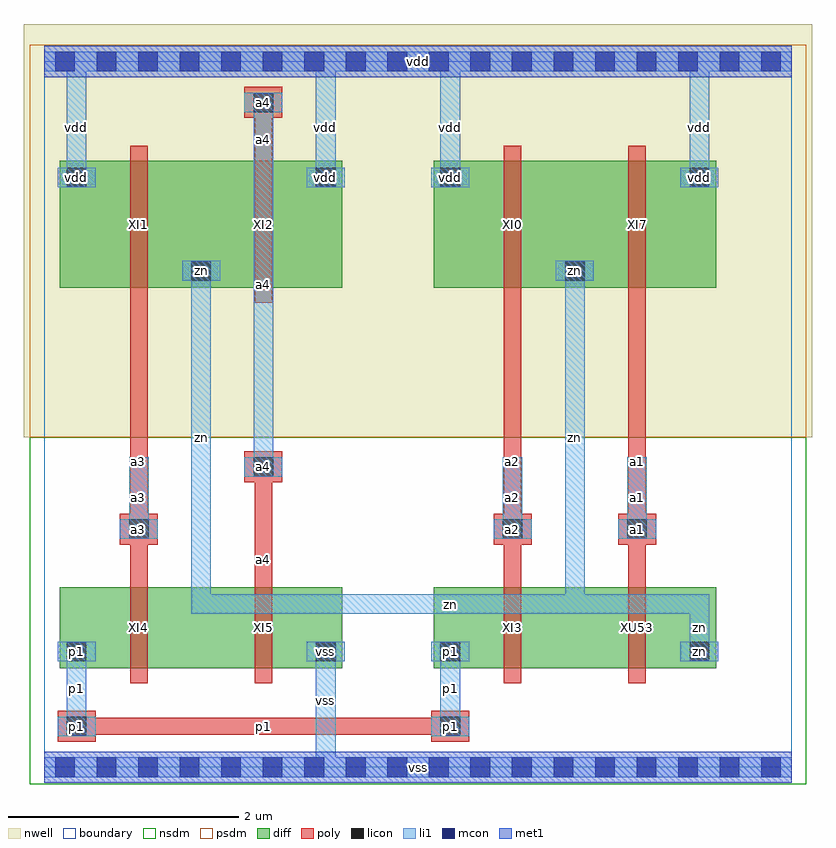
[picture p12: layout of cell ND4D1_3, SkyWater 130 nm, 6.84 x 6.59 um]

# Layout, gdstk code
import gdstk
lib = gdstk.Library(unit=1e-6, precision=1e-09)
def R(c, l, rs):  # rectangles x0, y0, x1, y1
    for r in rs: c.add(gdstk.rectangle(r[:2], r[2:], *l))
def A(c, l, x, y, w, h, nx, ny, dx, dy):  # array of equal rectangles
    R(c, l, [(x+i*dx, y+j*dy, x+i*dx+w, y+j*dy+h) for i in range(nx) for j in range(ny)])
L0_0 = (0, 0)
nwell = (64, 20)
diff = (65, 20)
poly = (66, 20)
licon = (66, 44)
li1 = (67, 20)
mcon = (67, 44)
met1 = (68, 20)
nsdm = (93, 44)
psdm = (94, 20)
boundary = (235, 4)

nd4d1_3 = lib.new_cell('ND4D1_3')
R(nd4d1_3, nwell, [(-0.18,2.86,6.66,6.445)])
R(nd4d1_3, diff, [(0.135,0.86,1.505,1.56), (0.135,0.86,0.425,1.15), (1.215,0.86,2.585,1.56), (2.295,0.86,2.585,1.15), (3.375,0.86,4.745,1.56), (3.375,0.86,3.665,1.15), (4.455,0.86,5.825,1.56), (5.535,0.86,5.825,1.15), (0.135,4.16,1.505,5.26), (1.215,4.16,2.585,5.26), (1.215,4.16,1.505,4.45), (3.375,4.16,4.745,5.26), (4.455,4.16,5.825,5.26), (4.455,4.16,4.745,4.45), (0.135,4.97,0.425,5.26), (2.295,4.97,2.585,5.26), (3.375,4.97,3.665,5.26), (5.535,4.97,5.825,5.26)])
R(nd4d1_3, poly, [(0.115,0.22,0.445,0.49), (3.355,0.22,3.685,0.49), (0.205,0.28,3.595,0.43), (0.745,0.73,0.895,1.69), (1.825,0.73,1.975,1.69), (3.985,0.73,4.135,1.69), (5.065,0.73,5.215,1.69), (0.745,0.93,0.895,4.38), (1.825,0.93,1.975,2.68), (3.985,0.93,4.135,4.38), (5.065,0.93,5.215,4.38), (0.655,1.93,0.985,2.2), (3.895,1.93,4.225,2.2), (4.975,1.93,5.305,2.2), (1.735,2.47,2.065,2.74), (0.745,4.03,0.895,5.39), (1.825,4.03,1.975,5.39), (3.985,4.03,4.135,5.39), (5.065,4.03,5.215,5.39), (1.825,5.04,1.975,5.84), (1.735,5.63,2.065,5.9)])
R(nd4d1_3, licon, [(0.195,0.27,0.365,0.44), (3.435,0.27,3.605,0.44), (0.195,0.92,0.365,1.09), (2.355,0.92,2.525,1.09), (3.435,0.92,3.605,1.09), (5.595,0.92,5.765,1.09), (0.735,1.98,0.905,2.15), (3.975,1.98,4.145,2.15), (5.055,1.98,5.225,2.15), (1.815,2.52,1.985,2.69), (1.275,4.22,1.445,4.39), (4.515,4.22,4.685,4.39), (0.195,5.03,0.365,5.2), (2.355,5.03,2.525,5.2), (3.435,5.03,3.605,5.2), (5.595,5.03,5.765,5.2), (1.815,5.68,1.985,5.85)])
R(nd4d1_3, li1, [(0,-0.085,6.48,0.085), (2.355,0.06,2.525,1.09), (0.115,0.27,0.445,0.44), (0.195,0.27,0.365,1.09), (3.355,0.27,3.685,0.44), (3.435,0.27,3.605,1.09), (0.115,0.92,0.445,1.09), (2.275,0.92,2.605,1.09), (3.355,0.92,3.685,1.09), (5.515,0.92,5.845,1.09), (5.595,0.92,5.765,1.5), (1.275,1.33,5.765,1.5), (1.275,1.33,1.445,4.39), (4.515,1.33,4.685,4.39), (0.655,1.98,0.985,2.15), (0.735,1.98,0.905,2.69), (3.895,1.98,4.225,2.15), (3.975,1.98,4.145,2.69), (4.975,1.98,5.305,2.15), (5.055,1.98,5.225,2.69), (1.735,2.52,2.065,2.69), (1.815,2.52,1.985,5.85), (1.195,4.22,1.525,4.39), (4.435,4.22,4.765,4.39), (0.115,5.03,0.445,5.2), (0.195,5.03,0.365,6.06), (2.275,5.03,2.605,5.2), (2.355,5.03,2.525,6.06), (3.355,5.03,3.685,5.2), (3.435,5.03,3.605,6.06), (5.515,5.03,5.845,5.2), (5.595,5.03,5.765,6.06), (1.735,5.68,2.065,5.85), (0,6.035,6.48,6.205)])
A(nd4d1_3, mcon, 0.095, -0.085, 0.17, 0.17, 18, 2, 0.36, 6.12)
R(nd4d1_3, met1, [(0,-0.135,6.48,0.135), (0,5.985,6.48,6.255)])
R(nd4d1_3, nsdm, [(-0.125,-0.145,6.605,0.145), (-0.125,0.145,6.605,2.86)])
R(nd4d1_3, psdm, [(-0.125,2.86,6.605,5.975), (-0.125,5.975,6.605,6.265)])
R(nd4d1_3, boundary, [(0,0,6.48,6.12)])
nd4d1_3.add(gdstk.FlexPath([(0.115,0.355),(5.845,0.355)], 0, ends="flush", simple_path=True, layer=0, datatype=0))  # L0_0
nd4d1_3.add(gdstk.FlexPath([(0.115,1.005),(5.845,1.005)], 0, ends="flush", simple_path=True, layer=0, datatype=0))  # L0_0
nd4d1_3.add(gdstk.FlexPath([(0.115,1.415),(5.845,1.415)], 0, ends="flush", simple_path=True, layer=0, datatype=0))  # L0_0
nd4d1_3.add(gdstk.FlexPath([(0.115,2.065),(5.845,2.065)], 0, ends="flush", simple_path=True, layer=0, datatype=0))  # L0_0
nd4d1_3.add(gdstk.FlexPath([(0.115,2.605),(5.845,2.605)], 0, ends="flush", simple_path=True, layer=0, datatype=0))  # L0_0
nd4d1_3.add(gdstk.FlexPath([(0.115,3.145),(5.845,3.145)], 0, ends="flush", simple_path=True, layer=0, datatype=0))  # L0_0
nd4d1_3.add(gdstk.FlexPath([(0.115,4.305),(5.845,4.305)], 0, ends="flush", simple_path=True, layer=0, datatype=0))  # L0_0
nd4d1_3.add(gdstk.FlexPath([(0.115,4.775),(5.845,4.775)], 0, ends="flush", simple_path=True, layer=0, datatype=0))  # L0_0
nd4d1_3.add(gdstk.FlexPath([(0.115,5.115),(5.845,5.115)], 0, ends="flush", simple_path=True, layer=0, datatype=0))  # L0_0
nd4d1_3.add(gdstk.FlexPath([(0.115,5.765),(5.845,5.765)], 0, ends="flush", simple_path=True, layer=0, datatype=0))  # L0_0
nd4d1_3.add(gdstk.FlexPath([(0.28,0.06),(0.28,6.06)], 0, ends="flush", simple_path=True, layer=0, datatype=0))  # L0_0
nd4d1_3.add(gdstk.FlexPath([(0.82,0.06),(0.82,6.06)], 0, ends="flush", simple_path=True, layer=0, datatype=0))  # L0_0
nd4d1_3.add(gdstk.FlexPath([(1.36,0.06),(1.36,6.06)], 0, ends="flush", simple_path=True, layer=0, datatype=0))  # L0_0
nd4d1_3.add(gdstk.FlexPath([(1.9,0.06),(1.9,6.06)], 0, ends="flush", simple_path=True, layer=0, datatype=0))  # L0_0
nd4d1_3.add(gdstk.FlexPath([(2.44,0.06),(2.44,6.06)], 0, ends="flush", simple_path=True, layer=0, datatype=0))  # L0_0
nd4d1_3.add(gdstk.FlexPath([(2.98,0.06),(2.98,6.06)], 0, ends="flush", simple_path=True, layer=0, datatype=0))  # L0_0
nd4d1_3.add(gdstk.FlexPath([(3.52,0.06),(3.52,6.06)], 0, ends="flush", simple_path=True, layer=0, datatype=0))  # L0_0
nd4d1_3.add(gdstk.FlexPath([(4.06,0.06),(4.06,6.06)], 0, ends="flush", simple_path=True, layer=0, datatype=0))  # L0_0
nd4d1_3.add(gdstk.FlexPath([(4.6,0.06),(4.6,6.06)], 0, ends="flush", simple_path=True, layer=0, datatype=0))  # L0_0
nd4d1_3.add(gdstk.FlexPath([(5.14,0.06),(5.14,6.06)], 0, ends="flush", simple_path=True, layer=0, datatype=0))  # L0_0
nd4d1_3.add(gdstk.FlexPath([(5.68,0.06),(5.68,6.06)], 0, ends="flush", simple_path=True, layer=0, datatype=0))  # L0_0
nd4d1_3.add(gdstk.Label('XI3', (4.06,1.21), layer=65, texttype=20))
nd4d1_3.add(gdstk.Label('XI5', (1.9,1.21), layer=65, texttype=20))
nd4d1_3.add(gdstk.Label('XI4', (0.82,1.21), layer=65, texttype=20))
nd4d1_3.add(gdstk.Label('XU53', (5.14,1.21), layer=65, texttype=20))
nd4d1_3.add(gdstk.Label('XI7', (5.14,4.71), layer=65, texttype=20))
nd4d1_3.add(gdstk.Label('XI2', (1.9,4.71), layer=65, texttype=20))
nd4d1_3.add(gdstk.Label('XI1', (0.82,4.71), layer=65, texttype=20))
nd4d1_3.add(gdstk.Label('XI0', (4.06,4.71), layer=65, texttype=20))
nd4d1_3.add(gdstk.Label('p1', (3.52,1.005), layer=65, texttype=20))
nd4d1_3.add(gdstk.Label('p1', (0.28,1.005), layer=65, texttype=20))
nd4d1_3.add(gdstk.Label('zn', (5.68,1.005), layer=65, texttype=20))
nd4d1_3.add(gdstk.Label('zn', (4.6,4.305), layer=65, texttype=20))
nd4d1_3.add(gdstk.Label('zn', (1.36,4.305), layer=65, texttype=20))
nd4d1_3.add(gdstk.Label('vss', (2.44,1.005), layer=65, texttype=20))
nd4d1_3.add(gdstk.Label('vdd', (5.68,5.115), layer=65, texttype=20))
nd4d1_3.add(gdstk.Label('vdd', (2.44,5.115), layer=65, texttype=20))
nd4d1_3.add(gdstk.Label('vdd', (0.28,5.115), layer=65, texttype=20))
nd4d1_3.add(gdstk.Label('vdd', (3.52,5.115), layer=65, texttype=20))
nd4d1_3.add(gdstk.Label('a2', (4.06,2.655), layer=66, texttype=20))
nd4d1_3.add(gdstk.Label('a2', (4.06,2.065), layer=66, texttype=20))
nd4d1_3.add(gdstk.Label('p1', (3.52,0.355), layer=66, texttype=20))
nd4d1_3.add(gdstk.Label('p1', (1.9,0.355), layer=66, texttype=20))
nd4d1_3.add(gdstk.Label('p1', (0.28,0.355), layer=66, texttype=20))
nd4d1_3.add(gdstk.Label('a4', (1.9,1.805), layer=66, texttype=20))
nd4d1_3.add(gdstk.Label('a4', (1.9,2.605), layer=66, texttype=20))
nd4d1_3.add(gdstk.Label('a4', (1.9,5.765), layer=66, texttype=20))
nd4d1_3.add(gdstk.Label('a4', (1.9,5.44), layer=66, texttype=20))
nd4d1_3.add(gdstk.Label('a3', (0.82,2.655), layer=66, texttype=20))
nd4d1_3.add(gdstk.Label('a3', (0.82,2.065), layer=66, texttype=20))
nd4d1_3.add(gdstk.Label('a1', (5.14,2.655), layer=66, texttype=20))
nd4d1_3.add(gdstk.Label('a1', (5.14,2.065), layer=66, texttype=20))
nd4d1_3.add(gdstk.Label('a2', (4.06,2.065), layer=66, texttype=44))
nd4d1_3.add(gdstk.Label('p1', (3.52,1.005), layer=66, texttype=44))
nd4d1_3.add(gdstk.Label('p1', (0.28,1.005), layer=66, texttype=44))
nd4d1_3.add(gdstk.Label('p1', (3.52,0.355), layer=66, texttype=44))
nd4d1_3.add(gdstk.Label('p1', (0.28,0.355), layer=66, texttype=44))
nd4d1_3.add(gdstk.Label('a4', (1.9,2.605), layer=66, texttype=44))
nd4d1_3.add(gdstk.Label('a4', (1.9,5.765), layer=66, texttype=44))
nd4d1_3.add(gdstk.Label('a3', (0.82,2.065), layer=66, texttype=44))
nd4d1_3.add(gdstk.Label('zn', (5.68,1.005), layer=66, texttype=44))
nd4d1_3.add(gdstk.Label('zn', (4.6,4.305), layer=66, texttype=44))
nd4d1_3.add(gdstk.Label('zn', (1.36,4.305), layer=66, texttype=44))
nd4d1_3.add(gdstk.Label('a1', (5.14,2.065), layer=66, texttype=44))
nd4d1_3.add(gdstk.Label('vss', (2.44,1.005), layer=66, texttype=44))
nd4d1_3.add(gdstk.Label('vdd', (5.68,5.115), layer=66, texttype=44))
nd4d1_3.add(gdstk.Label('vdd', (2.44,5.115), layer=66, texttype=44))
nd4d1_3.add(gdstk.Label('vdd', (0.28,5.115), layer=66, texttype=44))
nd4d1_3.add(gdstk.Label('vdd', (3.52,5.115), layer=66, texttype=44))
nd4d1_3.add(gdstk.Label('a2', (4.06,2.065), layer=67, texttype=16))
nd4d1_3.add(gdstk.Label('a2', (4.06,2.335), layer=67, texttype=16))
nd4d1_3.add(gdstk.Label('p1', (3.52,1.005), layer=67, texttype=20))
nd4d1_3.add(gdstk.Label('p1', (0.28,1.005), layer=67, texttype=20))
nd4d1_3.add(gdstk.Label('p1', (3.52,0.68), layer=67, texttype=20))
nd4d1_3.add(gdstk.Label('p1', (3.52,0.355), layer=67, texttype=20))
nd4d1_3.add(gdstk.Label('p1', (0.28,0.355), layer=67, texttype=20))
nd4d1_3.add(gdstk.Label('p1', (0.28,0.68), layer=67, texttype=20))
nd4d1_3.add(gdstk.Label('a4', (1.9,2.605), layer=67, texttype=16))
nd4d1_3.add(gdstk.Label('a4', (1.9,4.185), layer=67, texttype=16))
nd4d1_3.add(gdstk.Label('a4', (1.9,5.765), layer=67, texttype=16))
nd4d1_3.add(gdstk.Label('a3', (0.82,2.065), layer=67, texttype=16))
nd4d1_3.add(gdstk.Label('a3', (0.82,2.335), layer=67, texttype=16))
nd4d1_3.add(gdstk.Label('zn', (5.68,1.005), layer=67, texttype=16))
nd4d1_3.add(gdstk.Label('zn', (4.6,4.305), layer=67, texttype=16))
nd4d1_3.add(gdstk.Label('zn', (1.36,4.305), layer=67, texttype=16))
nd4d1_3.add(gdstk.Label('zn', (5.68,1.21), layer=67, texttype=16))
nd4d1_3.add(gdstk.Label('zn', (3.52,1.415), layer=67, texttype=16))
nd4d1_3.add(gdstk.Label('zn', (1.36,2.86), layer=67, texttype=16))
nd4d1_3.add(gdstk.Label('zn', (4.6,2.86), layer=67, texttype=16))
nd4d1_3.add(gdstk.Label('a1', (5.14,2.065), layer=67, texttype=16))
nd4d1_3.add(gdstk.Label('a1', (5.14,2.335), layer=67, texttype=16))
nd4d1_3.add(gdstk.Label('vss', (2.44,1.005), layer=67, texttype=20))
nd4d1_3.add(gdstk.Label('vss', (2.44,0.575), layer=67, texttype=20))
nd4d1_3.add(gdstk.Label('vdd', (5.68,5.115), layer=67, texttype=20))
nd4d1_3.add(gdstk.Label('vdd', (5.68,5.545), layer=67, texttype=20))
nd4d1_3.add(gdstk.Label('vdd', (2.44,5.115), layer=67, texttype=20))
nd4d1_3.add(gdstk.Label('vdd', (2.44,5.545), layer=67, texttype=20))
nd4d1_3.add(gdstk.Label('vdd', (0.28,5.115), layer=67, texttype=20))
nd4d1_3.add(gdstk.Label('vdd', (0.28,5.545), layer=67, texttype=20))
nd4d1_3.add(gdstk.Label('vdd', (3.52,5.115), layer=67, texttype=20))
nd4d1_3.add(gdstk.Label('vdd', (3.52,5.545), layer=67, texttype=20))
nd4d1_3.add(gdstk.Label('vss', (3.24,0), layer=67, texttype=16))
nd4d1_3.add(gdstk.Label('vdd', (3.24,6.12), layer=67, texttype=16))
nd4d1_3.add(gdstk.Label('vss', (3.24,0), layer=68, texttype=16))
nd4d1_3.add(gdstk.Label('vdd', (3.24,6.12), layer=68, texttype=16))

lib.write_gds('ND4D1_3.gds')
